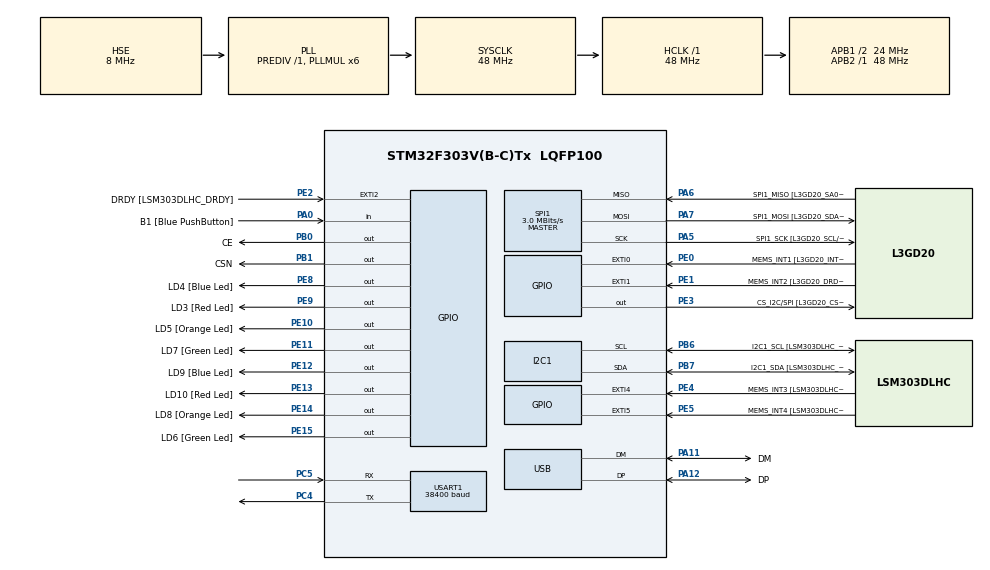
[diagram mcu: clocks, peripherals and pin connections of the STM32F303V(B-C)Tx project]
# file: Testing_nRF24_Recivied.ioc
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I2C1.Timing-I2C=0x2000090E
Mcu.Family=STM32F3
Mcu.Name=STM32F303V(B-C)Tx
Mcu.Package=LQFP100
NVIC.PriorityGroup=NVIC_PRIORITYGROUP_0
PA0.GPIO_Label=B1 [Blue PushButton]
PA0.Signal=GPIO_Input
PA11.GPIO_Label=DM
PA11.Mode=Device
PA11.Signal=USB_DM
PA12.GPIO_Label=DP
PA12.Mode=Device
PA12.Signal=USB_DP
PA13.GPIO_Label=SWDIO
PA13.Mode=Serial_Wire
PA13.Signal=SYS_JTMS-SWDIO
PA14.GPIO_Label=SWCLK
PA14.Mode=Serial_Wire
PA14.Signal=SYS_JTCK-SWCLK
PA5.GPIO_Label=SPI1_SCK [L3GD20_SCL/SPC]
PA5.Mode=Full_Duplex_Master
PA5.Signal=SPI1_SCK
PA6.GPIO_Label=SPI1_MISO [L3GD20_SA0/SDO]
PA6.Mode=Full_Duplex_Master
PA6.Signal=SPI1_MISO
PA7.GPIO_Label=SPI1_MOSI [L3GD20_SDA/SDI/SDO]
PA7.Mode=Full_Duplex_Master
PA7.Signal=SPI1_MOSI
PB0.GPIO_Label=CE
PB0.Signal=GPIO_Output
PB1.GPIO_Label=CSN
PB1.Signal=GPIO_Output
PB3.GPIO_Label=SWO
PB3.Signal=SYS_JTDO-TRACESWO
PB6.GPIO_Label=I2C1_SCL [LSM303DLHC_SCL]
PB6.Mode=I2C
PB6.Signal=I2C1_SCL
PB7.GPIO_Label=I2C1_SDA [LSM303DLHC_SDA]
PB7.Mode=I2C
PB7.Signal=I2C1_SDA
PC14-OSC32_IN.GPIO_Label=OSC32_IN
PC14-OSC32_IN.Signal=RCC_OSC32_IN
PC15-OSC32_OUT.GPIO_Label=OSC32_OUT
PC15-OSC32_OUT.Signal=RCC_OSC32_OUT
PC4.Mode=Asynchronous
PC4.Signal=USART1_TX
PC5.Mode=Asynchronous
PC5.Signal=USART1_RX
PE0.GPIO_Label=MEMS_INT1 [L3GD20_INT1]
PE0.GPIO_ModeDefaultEXTI=GPIO_MODE_EVT_RISING
PE0.Signal=GPXTI0
PE1.GPIO_Label=MEMS_INT2 [L3GD20_DRDY/INT2]
PE1.GPIO_ModeDefaultEXTI=GPIO_MODE_EVT_RISING
PE1.Signal=GPXTI1
PE10.GPIO_Label=LD5 [Orange Led]
PE10.Signal=GPIO_Output
PE11.GPIO_Label=LD7 [Green Led]
PE11.Signal=GPIO_Output
PE12.GPIO_Label=LD9 [Blue Led]
PE12.Signal=GPIO_Output
PE13.GPIO_Label=LD10 [Red Led]
PE13.Signal=GPIO_Output
PE14.GPIO_Label=LD8 [Orange Led]
PE14.Signal=GPIO_Output
PE15.GPIO_Label=LD6 [Green Led]
PE15.Signal=GPIO_Output
PE2.GPIO_Label=DRDY [LSM303DLHC_DRDY]
PE2.GPIO_ModeDefaultEXTI=GPIO_MODE_EVT_RISING
PE2.Signal=GPXTI2
PE3.GPIO_Label=CS_I2C/SPI [L3GD20_CS_I2C/SPI]
PE3.Signal=GPIO_Output
PE4.GPIO_Label=MEMS_INT3 [LSM303DLHC_INT1]
PE4.GPIO_ModeDefaultEXTI=GPIO_MODE_EVT_RISING
PE4.Signal=GPXTI4
PE5.GPIO_Label=MEMS_INT4 [LSM303DLHC_INT2]
PE5.GPIO_ModeDefaultEXTI=GPIO_MODE_EVT_RISING
PE5.Signal=GPXTI5
PE8.GPIO_Label=LD4 [Blue Led]
PE8.Signal=GPIO_Output
PE9.GPIO_Label=LD3 [Red Led]
PE9.Signal=GPIO_Output
PF0-OSC_IN.GPIO_Label=OSC_IN
PF0-OSC_IN.Mode=HSE-External-Clock-Source
PF0-OSC_IN.Signal=RCC_OSC_IN
PF1-OSC_OUT.GPIO_Label=OSC_OUT
PF1-OSC_OUT.Signal=RCC_OSC_OUT
ProjectManager.HeapSize=0x200
ProjectManager.StackSize=0x400
ProjectManager.TargetToolchain=STM32CubeIDE
RCC.AHBFreq_Value=48000000
RCC.APB1CLKDivider=RCC_HCLK_DIV2
RCC.APB1Freq_Value=24000000
RCC.APB1TimFreq_Value=48000000
RCC.APB2Freq_Value=48000000
RCC.APB2TimFreq_Value=48000000
RCC.CortexFreq_Value=48000000
RCC.HCLKFreq_Value=48000000
RCC.HSE_VALUE=8000000
RCC.HSI_VALUE=8000000
RCC.LSE_VALUE=32768
RCC.PLLMUL=RCC_PLL_MUL6
RCC.SYSCLKFreq_VALUE=48000000
RCC.SYSCLKSourceVirtual=RCC_SYSCLKSOURCE_PLLCLK
RCC.USBFreq_Value=48000000
SPI1.BaudRatePrescaler=SPI_BAUDRATEPRESCALER_16
SPI1.BaudRatePrescaler-Full_Duplex_Master=SPI_BAUDRATEPRESCALER_2
SPI1.CalculateBaudRate=3.0 MBits/s
SPI1.CalculateBaudRate-Full_Duplex_Master=24.0 MBits/s
SPI1.DataSize=SPI_DATASIZE_8BIT
SPI1.Direction=SPI_DIRECTION_2LINES
SPI1.Mode=SPI_MODE_MASTER
SPI1.Mode-Full_Duplex_Master=SPI_MODE_MASTER
SPI1.NSSPMode=SPI_NSS_PULSE_DISABLE
SPI1.VirtualType=VM_MASTER
USART1.BaudRate=38400
USART1.VirtualMode-Asynchronous=VM_ASYNC
board=STM32F3DISCOVERY

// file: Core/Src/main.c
/* USER CODE BEGIN Header */
/**
  ******************************************************************************
  * @file           : main.c
  * @brief          : Main program body
  ******************************************************************************
  * @attention
  *
  * <h2><center>&copy; Copyright (c) 2020 STMicroelectronics.
  * All rights reserved.</center></h2>
  *
  * This software component is licensed by ST under BSD 3-Clause license,
  * the "License"; You may not use this file except in compliance with the
  * License. You may obtain a copy of the License at:
  *                        opensource.org/licenses/BSD-3-Clause
  *
  ******************************************************************************
  */
/* USER CODE END Header */
#include "main.h"

/* USER CODE BEGIN Includes */
#include "RF24.h"
/* USER CODE END Includes */

I2C_HandleTypeDef hi2c1;

SPI_HandleTypeDef hspi1;

UART_HandleTypeDef huart1;

PCD_HandleTypeDef hpcd_USB_FS;

/* USER CODE BEGIN PV */
char str[64] = {0};
uint16_t buf = {0};
/* USER CODE END PV */

void SystemClock_Config(void);
static void MX_GPIO_Init(void);
static void MX_I2C1_Init(void);
static void MX_SPI1_Init(void);
static void MX_USB_PCD_Init(void);
static void MX_USART1_UART_Init(void);
/* USER CODE BEGIN PFP */

int _write(int file, char *ptr, int len)
{
 HAL_UART_Transmit(&huart1, (uint8_t *) ptr, len, HAL_MAX_DELAY);
 return len;
}

/* USER CODE END PFP */

/* USER CODE BEGIN 0 */
//void HAL_GPIO_EXTI_Callback(uint16_t GPIO_Pin)
//{
//	if(GPIO_Pin	== IRQ_Pin)
//	{
//		HAL_UART_Transmit(&huart1, (uint8_t*)"IRQ\n", strlen("IRQ\n"), 1000);
//	}
//}
/* USER CODE END 0 */

int main(void)
{

  /* MCU Configuration--------------------------------------------------------*/

  /* Reset of all peripherals, Initializes the Flash interface and the Systick. */
  HAL_Init();

  /* Configure the system clock */
  SystemClock_Config();

  /* Initialize all configured peripherals */
  MX_GPIO_Init();
  MX_I2C1_Init();
  MX_SPI1_Init();
  MX_USB_PCD_Init();
  MX_USART1_UART_Init();
  /* USER CODE BEGIN 2 */
  DWT_Init(); // счётчик для микросекундных пауз

  //const uint64_t pipe0 = 0x787878787878;
  const uint64_t pipe1 = 0xE8E8F0F0E2LL; // адрес первой трубы
  //const uint64_t pipe2 = 0xE8E8F0F0A2LL;
  //const uint64_t pipe3 = 0xE8E8F0F0D1LL;
  //const uint64_t pipe4 = 0xE8E8F0F0C3LL;
  //const uint64_t pipe5 = 0xE8E8F0F0E7LL;
  HAL_Delay(100);
  uint8_t res = isChipConnected(); // проверяет подключён ли модуль к SPI

  char str[64] = {0,};
  snprintf(str, 64, "Connected: %s\n", 1 ? "OK" : "NOT OK");
  HAL_UART_Transmit(&huart1, (uint8_t*)str, strlen(str), 1000);

  res = NRF_Init(); // инициализация

  snprintf(str, 64, "Init: %s\n", res > 0 && res < 255 ? "OK" : "NOT OK");
  HAL_UART_Transmit(&huart1, (uint8_t*)str, strlen(str), 1000);

  ////////////// SET ////////////////
  //enableAckPayload();
  //setAutoAck(false);
  //setPayloadSize(3);
  setChannel(19);
  openReadingPipe(1, pipe1);
  startListening();
  ///////////////////////////////////

  ////////////////////////// Вывод всяких статусов, для работы не нужно /////////////////////////////
  uint8_t status = get_status();
  snprintf(str, 64, "get_status: 0x%02x\n", status);
  HAL_UART_Transmit(&huart1, (uint8_t*)str, strlen(str), 1000);

  status = getPALevel();
  snprintf(str, 64, "getPALevel: 0x%02x  ", status);
  HAL_UART_Transmit(&huart1, (uint8_t*)str, strlen(str), 1000);

  if(status == 0x00)
  {
	  HAL_UART_Transmit(&huart1, (uint8_t*)"RF24_PA_MIN\n", strlen("RF24_PA_MIN\n"), 1000);
  }
  else if(status == 0x01)
  {
	  HAL_UART_Transmit(&huart1, (uint8_t*)"RF24_PA_LOW\n", strlen("RF24_PA_LOW\n"), 1000);
  }
  else if(status == 0x02)
  {
	  HAL_UART_Transmit(&huart1, (uint8_t*)"RF24_PA_HIGH\n", strlen("RF24_PA_HIGH\n"), 1000);
  }
  else if(status == 0x03)
  {
	  HAL_UART_Transmit(&huart1, (uint8_t*)"RF24_PA_MAX\n", strlen("RF24_PA_MAX\n"), 1000);
  }

  status = getChannel();
  snprintf(str, 64, "getChannel: 0x%02x № %d\n", status, status);
  HAL_UART_Transmit(&huart1, (uint8_t*)str, strlen(str), 1000);

  status = getDataRate();
  snprintf(str, 64, "getDataRate: 0x%02x  ", status);
  HAL_UART_Transmit(&huart1, (uint8_t*)str, strlen(str), 1000);

  if(status == 0x02)
  {
	  HAL_UART_Transmit(&huart1, (uint8_t*)"RF24_250KBPS\n", strlen("RF24_250KBPS\n"), 1000);
  }
  else if(status == 0x01)
  {
	  HAL_UART_Transmit(&huart1, (uint8_t*)"RF24_2MBPS\n", strlen("RF24_2MBPS\n"), 1000);
  }
  else
  {
	  HAL_UART_Transmit(&huart1, (uint8_t*)"RF24_1MBPS\n", strlen("RF24_1MBPS\n"), 1000);
  }

  status = getPayloadSize();
  snprintf(str, 64, "getPayloadSize: %d\n", status);
  HAL_UART_Transmit(&huart1, (uint8_t*)str, strlen(str), 1000);

  status = getCRCLength();
  snprintf(str, 64, "getCRCLength: 0x%02x  ", status);
  HAL_UART_Transmit(&huart1, (uint8_t*)str, strlen(str), 1000);

  if(status == 0x00)
  {
	  HAL_UART_Transmit(&huart1, (uint8_t*)"RF24_CRC_DISABLED\n", strlen("RF24_CRC_DISABLED\n"), 1000);
  }
  else if(status == 0x01)
  {
	  HAL_UART_Transmit(&huart1, (uint8_t*)"RF24_CRC_8\n", strlen("RF24_CRC_8\n"), 1000);
  }
  else if(status == 0x02)
  {
	  HAL_UART_Transmit(&huart1, (uint8_t*)"RF24_CRC_16\n", strlen("RF24_CRC_16\n"), 1000);
  }
  /////////////////////////////////////////////////////////////////////////////////////////////////////

  maskIRQ(true, true, true); // маскируем прерывания
  /* USER CODE END 2 */

  /* Infinite loop */
  /* USER CODE BEGIN WHILE */
  while (1)
  {
	///////////////////////////////////// ПР�?ЁМ /////////////////////////////////////////////
	uint8_t nrf_data[32] = {0,}; // буфер указываем максимального размера
	//static uint8_t remsg = 0;
	uint8_t pipe_num = 0;

	if(available(&pipe_num)) // проверяем пришло ли что-то
	{
		//remsg++;

		//writeAckPayload(pipe_num, &remsg, sizeof(remsg)); // отправляем полезную нагрузку вместе с подтверждением

		if(pipe_num == 0) // проверяем в какую трубу пришли данные
		{
			HAL_UART_Transmit(&huart1, (uint8_t*)"pipe 0\n", strlen("pipe 0\n"), 1000);
		}

		else if(pipe_num == 1)
		{
			HAL_UART_Transmit(&huart1, (uint8_t*)"pipe 1\n", strlen("pipe 1\n"), 1000);

			uint8_t count = getDynamicPayloadSize(); // смотрим сколько байт прилетело

			read(&nrf_data, count); // Читаем данные в массив nrf_data и указываем сколько байт читать

			for (uint8_t i = 0; i < count; i++)
			{
				snprintf(str, 64, "data[%d]=%d \n", i, nrf_data[i]);
				HAL_UART_Transmit(&huart1, (uint8_t*)str, strlen(str), 1000);
			}
			/*if(nrf_data[0] == 77 && nrf_data[1] == 86 && nrf_data[2] == 97) // проверяем правильность данных
			{
			//	HAL_GPIO_TogglePin(ledpb11_GPIO_Port, ledpb11_Pin);
				snprintf(str, 64, "data[0]=%d data[1]=%d data[2]=%d\n", nrf_data[0], nrf_data[1], nrf_data[2]);
				HAL_UART_Transmit(&huart1, (uint8_t*)str, strlen(str), 1000);
			}*/
		}

		else if(pipe_num == 2)
		{
			HAL_UART_Transmit(&huart1, (uint8_t*)"pipe 2\n", strlen("pipe 2\n"), 1000);
		}

		else
		{
			while(availableMy()) // если данные придут от неуказанной трубы, то попадут сюда
			{
				read(&nrf_data, sizeof(nrf_data));
				HAL_UART_Transmit(&huart1, (uint8_t*)"Unknown pipe\n", strlen("Unknown pipe\n"), 1000);
			}
		}
	}
    /* USER CODE END WHILE */

  }
}

void SystemClock_Config(void)
{
  RCC_OscInitTypeDef RCC_OscInitStruct = {0};
  RCC_ClkInitTypeDef RCC_ClkInitStruct = {0};
  RCC_PeriphCLKInitTypeDef PeriphClkInit = {0};

  /** Initializes the RCC Oscillators according to the specified parameters
  * in the RCC_OscInitTypeDef structure.
  */
  RCC_OscInitStruct.OscillatorType = RCC_OSCILLATORTYPE_HSI|RCC_OSCILLATORTYPE_HSE;
  RCC_OscInitStruct.HSEState = RCC_HSE_BYPASS;
  RCC_OscInitStruct.HSEPredivValue = RCC_HSE_PREDIV_DIV1;
  RCC_OscInitStruct.HSIState = RCC_HSI_ON;
  RCC_OscInitStruct.HSICalibrationValue = RCC_HSICALIBRATION_DEFAULT;
  RCC_OscInitStruct.PLL.PLLState = RCC_PLL_ON;
  RCC_OscInitStruct.PLL.PLLSource = RCC_PLLSOURCE_HSE;
  RCC_OscInitStruct.PLL.PLLMUL = RCC_PLL_MUL6;
  if (HAL_RCC_OscConfig(&RCC_OscInitStruct) != HAL_OK)
  {
    Error_Handler();
  }
  /** Initializes the CPU, AHB and APB buses clocks
  */
  RCC_ClkInitStruct.ClockType = RCC_CLOCKTYPE_HCLK|RCC_CLOCKTYPE_SYSCLK
                              |RCC_CLOCKTYPE_PCLK1|RCC_CLOCKTYPE_PCLK2;
  RCC_ClkInitStruct.SYSCLKSource = RCC_SYSCLKSOURCE_PLLCLK;
  RCC_ClkInitStruct.AHBCLKDivider = RCC_SYSCLK_DIV1;
  RCC_ClkInitStruct.APB1CLKDivider = RCC_HCLK_DIV2;
  RCC_ClkInitStruct.APB2CLKDivider = RCC_HCLK_DIV1;

  if (HAL_RCC_ClockConfig(&RCC_ClkInitStruct, FLASH_LATENCY_1) != HAL_OK)
  {
    Error_Handler();
  }
  PeriphClkInit.PeriphClockSelection = RCC_PERIPHCLK_USB|RCC_PERIPHCLK_USART1
                              |RCC_PERIPHCLK_I2C1;
  PeriphClkInit.Usart1ClockSelection = RCC_USART1CLKSOURCE_PCLK2;
  PeriphClkInit.I2c1ClockSelection = RCC_I2C1CLKSOURCE_HSI;
  PeriphClkInit.USBClockSelection = RCC_USBCLKSOURCE_PLL;
  if (HAL_RCCEx_PeriphCLKConfig(&PeriphClkInit) != HAL_OK)
  {
    Error_Handler();
  }
}

static void MX_I2C1_Init(void)
{

  hi2c1.Instance = I2C1;
  hi2c1.Init.Timing = 0x2000090E;
  hi2c1.Init.OwnAddress1 = 0;
  hi2c1.Init.AddressingMode = I2C_ADDRESSINGMODE_7BIT;
  hi2c1.Init.DualAddressMode = I2C_DUALADDRESS_DISABLE;
  hi2c1.Init.OwnAddress2 = 0;
  hi2c1.Init.OwnAddress2Masks = I2C_OA2_NOMASK;
  hi2c1.Init.GeneralCallMode = I2C_GENERALCALL_DISABLE;
  hi2c1.Init.NoStretchMode = I2C_NOSTRETCH_DISABLE;
  if (HAL_I2C_Init(&hi2c1) != HAL_OK)
  {
    Error_Handler();
  }
  /** Configure Analogue filter
  */
  if (HAL_I2CEx_ConfigAnalogFilter(&hi2c1, I2C_ANALOGFILTER_ENABLE) != HAL_OK)
  {
    Error_Handler();
  }
  /** Configure Digital filter
  */
  if (HAL_I2CEx_ConfigDigitalFilter(&hi2c1, 0) != HAL_OK)
  {
    Error_Handler();
  }

}

static void MX_SPI1_Init(void)
{

  /* SPI1 parameter configuration*/
  hspi1.Instance = SPI1;
  hspi1.Init.Mode = SPI_MODE_MASTER;
  hspi1.Init.Direction = SPI_DIRECTION_2LINES;
  hspi1.Init.DataSize = SPI_DATASIZE_8BIT;
  hspi1.Init.CLKPolarity = SPI_POLARITY_LOW;
  hspi1.Init.CLKPhase = SPI_PHASE_1EDGE;
  hspi1.Init.NSS = SPI_NSS_SOFT;
  hspi1.Init.BaudRatePrescaler = SPI_BAUDRATEPRESCALER_16;
  hspi1.Init.FirstBit = SPI_FIRSTBIT_MSB;
  hspi1.Init.TIMode = SPI_TIMODE_DISABLE;
  hspi1.Init.CRCCalculation = SPI_CRCCALCULATION_DISABLE;
  hspi1.Init.CRCPolynomial = 7;
  hspi1.Init.CRCLength = SPI_CRC_LENGTH_DATASIZE;
  hspi1.Init.NSSPMode = SPI_NSS_PULSE_DISABLE;
  if (HAL_SPI_Init(&hspi1) != HAL_OK)
  {
    Error_Handler();
  }

}

static void MX_USART1_UART_Init(void)
{

  huart1.Instance = USART1;
  huart1.Init.BaudRate = 38400;
  huart1.Init.WordLength = UART_WORDLENGTH_8B;
  huart1.Init.StopBits = UART_STOPBITS_1;
  huart1.Init.Parity = UART_PARITY_NONE;
  huart1.Init.Mode = UART_MODE_TX_RX;
  huart1.Init.HwFlowCtl = UART_HWCONTROL_NONE;
  huart1.Init.OverSampling = UART_OVERSAMPLING_16;
  huart1.Init.OneBitSampling = UART_ONE_BIT_SAMPLE_DISABLE;
  huart1.AdvancedInit.AdvFeatureInit = UART_ADVFEATURE_NO_INIT;
  if (HAL_UART_Init(&huart1) != HAL_OK)
  {
    Error_Handler();
  }

}

static void MX_USB_PCD_Init(void)
{

  hpcd_USB_FS.Instance = USB;
  hpcd_USB_FS.Init.dev_endpoints = 8;
  hpcd_USB_FS.Init.speed = PCD_SPEED_FULL;
  hpcd_USB_FS.Init.phy_itface = PCD_PHY_EMBEDDED;
  hpcd_USB_FS.Init.low_power_enable = DISABLE;
  hpcd_USB_FS.Init.battery_charging_enable = DISABLE;
  if (HAL_PCD_Init(&hpcd_USB_FS) != HAL_OK)
  {
    Error_Handler();
  }

}

static void MX_GPIO_Init(void)
{
  GPIO_InitTypeDef GPIO_InitStruct = {0};

  /* GPIO Ports Clock Enable */
  __HAL_RCC_GPIOE_CLK_ENABLE();
  __HAL_RCC_GPIOC_CLK_ENABLE();
  __HAL_RCC_GPIOF_CLK_ENABLE();
  __HAL_RCC_GPIOA_CLK_ENABLE();
  __HAL_RCC_GPIOB_CLK_ENABLE();

  /*Configure GPIO pin Output Level */
  HAL_GPIO_WritePin(GPIOE, CS_I2C_SPI_Pin|LD4_Pin|LD3_Pin|LD5_Pin
                          |LD7_Pin|LD9_Pin|LD10_Pin|LD8_Pin
                          |LD6_Pin, GPIO_PIN_RESET);

  /*Configure GPIO pin Output Level */
  HAL_GPIO_WritePin(GPIOB, CE_Pin|CSN_Pin, GPIO_PIN_RESET);

  /*Configure GPIO pins : DRDY_Pin MEMS_INT3_Pin MEMS_INT4_Pin MEMS_INT1_Pin
                           MEMS_INT2_Pin */
  GPIO_InitStruct.Pin = DRDY_Pin|MEMS_INT3_Pin|MEMS_INT4_Pin|MEMS_INT1_Pin
                          |MEMS_INT2_Pin;
  GPIO_InitStruct.Mode = GPIO_MODE_EVT_RISING;
  GPIO_InitStruct.Pull = GPIO_NOPULL;
  HAL_GPIO_Init(GPIOE, &GPIO_InitStruct);

  /*Configure GPIO pins : CS_I2C_SPI_Pin LD4_Pin LD3_Pin LD5_Pin
                           LD7_Pin LD9_Pin LD10_Pin LD8_Pin
                           LD6_Pin */
  GPIO_InitStruct.Pin = CS_I2C_SPI_Pin|LD4_Pin|LD3_Pin|LD5_Pin
                          |LD7_Pin|LD9_Pin|LD10_Pin|LD8_Pin
                          |LD6_Pin;
  GPIO_InitStruct.Mode = GPIO_MODE_OUTPUT_PP;
  GPIO_InitStruct.Pull = GPIO_NOPULL;
  GPIO_InitStruct.Speed = GPIO_SPEED_FREQ_LOW;
  HAL_GPIO_Init(GPIOE, &GPIO_InitStruct);

  /*Configure GPIO pin : B1_Pin */
  GPIO_InitStruct.Pin = B1_Pin;
  GPIO_InitStruct.Mode = GPIO_MODE_INPUT;
  GPIO_InitStruct.Pull = GPIO_NOPULL;
  HAL_GPIO_Init(B1_GPIO_Port, &GPIO_InitStruct);

  /*Configure GPIO pins : CE_Pin CSN_Pin */
  GPIO_InitStruct.Pin = CE_Pin|CSN_Pin;
  GPIO_InitStruct.Mode = GPIO_MODE_OUTPUT_PP;
  GPIO_InitStruct.Pull = GPIO_NOPULL;
  GPIO_InitStruct.Speed = GPIO_SPEED_FREQ_LOW;
  HAL_GPIO_Init(GPIOB, &GPIO_InitStruct);

}

void Error_Handler(void)
{
}

/************************ (C) COPYRIGHT STMicroelectronics *****END OF FILE****/
